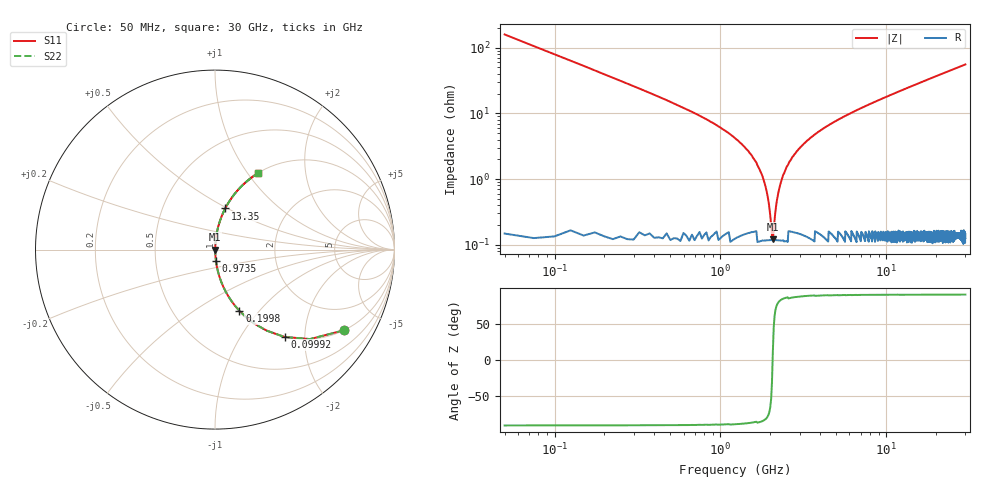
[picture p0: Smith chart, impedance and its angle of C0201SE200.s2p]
!	AVX Thin Film Operation 	Date: April 2014
!	Description: Accu-P® Series, Thin Film  SMD RF Capacitor
!	Part Number: 0201ZK200FBSTR
# MHZ S MA R 50
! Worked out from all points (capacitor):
!   1201 points, 50 MHz to 30 GHz, reference 50 ohm
!   read as one part in series: C = 20 pF near 199.8 MHz
!   lowest |Z| = 121 mohm at 2.072 GHz (marker M1)
!   series resonance near 2.065 GHz, so ESL is about 300 pH
!   S11 on the Smith chart (normalised r, x): 50 MHz: 1.00, -3.18; 99.92 MHz: 1.00, -1.59; 199.8 MHz: 1.00, -0.79; 973.5 MHz: 1.00, -0.13; 13.35 GHz: 1.00, +0.49; 30 GHz: 1.00, +1.11
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50  0.846 -32.1  0.532 57.8  0.532 57.8  0.846 -32.1
99.917  0.622 -51.5  0.782 38.4  0.782 38.4  0.622 -51.5
199.75  0.367 -68.3  0.929 21.5  0.929 21.5  0.367 -68.3
274.625  0.273 -73.9  0.961 15.9  0.961 15.9  0.273 -73.9
399.417  0.188 -78.8  0.981 10.8  0.981 10.8  0.188 -78.8
973.458  0.063 -85.1  0.997 3.6  0.997 3.6  0.063 -85.1
1622.375  0.019 -84.8  0.998 1.1  0.998 1.1  0.019 -84.8
1797.083  0.011 -82.2  0.999 0.6  0.999 0.6  0.011 -82.2
1971.792  0.003808 -68.9  0.999 0.2  0.999 0.2  0.003808 -68.9
2071.625  0.00138 10.2  0.999 -0.0  0.999 -0.0  0.00138 10.2
2171.458  0.004101 70.4  0.999 -0.2  0.999 -0.2  0.004101 70.4
2296.25  0.008296 80.1  0.999 -0.5  0.999 -0.5  0.008296 80.1
2446  0.013 83.3  0.999 -0.8  0.999 -0.8  0.013 83.3
2870.292  0.026 85.5  0.998 -1.5  0.998 -1.5  0.026 85.5
3743.833  0.049 85.6  0.997 -2.8  0.997 -2.8  0.049 85.6
5041.667  0.078 84.5  0.996 -4.5  0.996 -4.5  0.078 84.5
10058.29  0.177 79.4  0.983 -10.2  0.983 -10.2  0.177 79.4
13352.79  0.236 76.0  0.97 -13.7  0.97 -13.7  0.236 76.0
15025  0.265 74.4  0.963 -15.4  0.963 -15.4  0.265 74.4
20016.67  0.346 69.5  0.937 -20.3  0.937 -20.3  0.346 69.5
25033.29  0.42 65.0  0.906 -24.9  0.906 -24.9  0.42 65.0
30000  0.486 60.8  0.873 -29.1  0.873 -29.1  0.486 60.8
